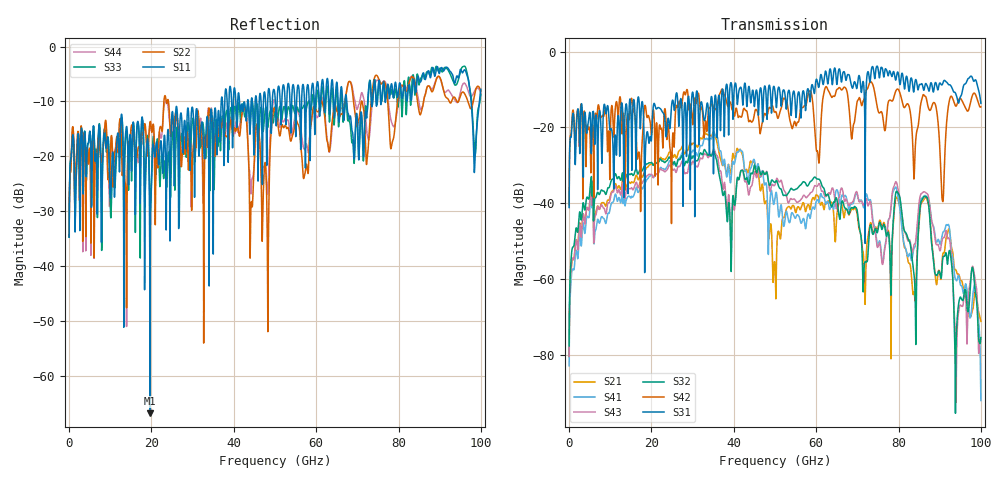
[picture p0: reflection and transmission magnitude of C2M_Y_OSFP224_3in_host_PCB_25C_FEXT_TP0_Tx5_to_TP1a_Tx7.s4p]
# GHz S RI R 45
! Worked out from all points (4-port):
!   4000 points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, 25 MHz to 100 GHz, reference 45 ohm
!   strongest paths, dB at 25 MHz, 25.02 GHz, 50.02 GHz, 75.03 GHz, 100 GHz:
!     S31: -41.1, -13.2, -10.7, -4.4, -13.7
!     S42: -40.4, -26.7, -15.9, -15.6, -14.6
!     S32: -77.7, -29.1, -34.5, -47.0, -75.4
!     S43: -80.4, -31.0, -35.1, -51.5, -75.6
!     S41: -82.9, -29.4, -38.6, -51.0, -92.1
!     S21: -80.5, -27.1, -56.7, -46.5, -71.2
!   lowest |S11| = -66.8 dB at 19.65 GHz (marker M1), VSWR 1.00, Z = 45 - j0.0392 ohm
!   |S11| at or under -10 dB: start of sweep to 36.96 GHz; 67.44 GHz to 72.52 GHz (5.081 GHz wide, 7.26 % of centre); 97.63 GHz to 99.64 GHz (2.014 GHz wide, 2.04 % of centre)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
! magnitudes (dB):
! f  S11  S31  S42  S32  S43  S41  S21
! 25 MHz  -34.7  -41.1  -40.4  -77.7  -80.4  -82.9  -80.5
! 5.35 GHz  -22.0  -24.3  -28.2  -33.4  -35.2  -36.4  -35.1
! 19.65 GHz  -66.8  -22.6  -18.3  -29.4  -32.4  -32.8  -29.9
! 83.72 GHz  -6.0  -10.6  -33.3  -58.4  -51.1  -52.0  -63.5
! 86.72 GHz  -5.4  -8.5  -12.2  -38.2  -37.3  -38.3  -38.6
! 90.67 GHz  -4.0  -8.6  -39.4  -55.2  -49.4  -48.1  -54.1
! 100 GHz  -7.8  -13.7  -14.6  -75.4  -75.6  -92.1  -71.2
